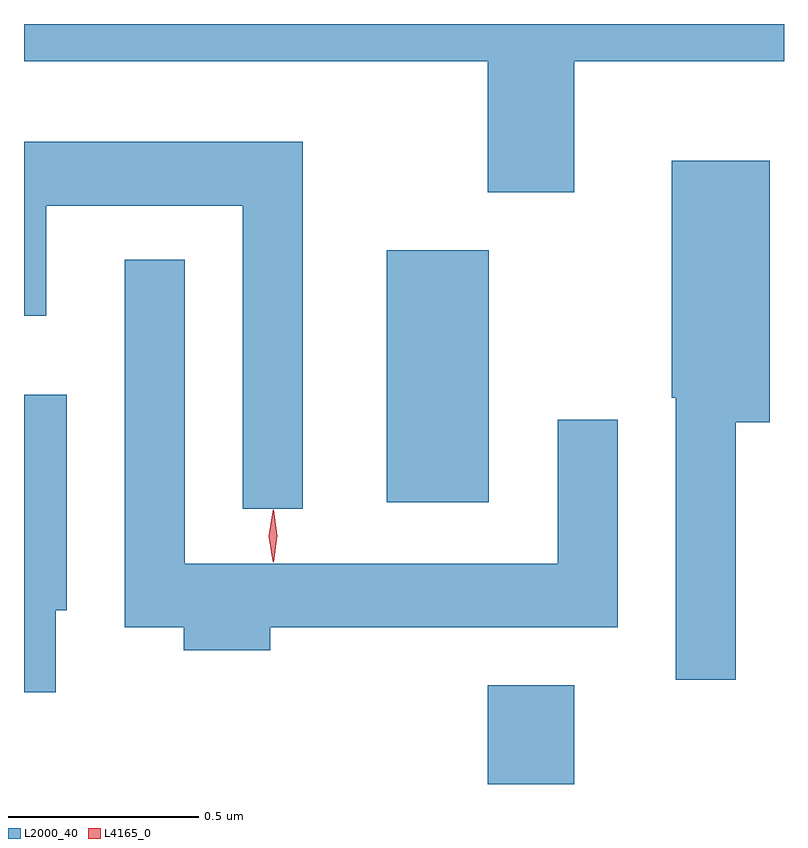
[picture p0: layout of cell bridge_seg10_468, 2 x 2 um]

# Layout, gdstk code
import gdstk
lib = gdstk.Library(unit=1e-6, precision=1e-09)
def R(c, l, rs):  # rectangles x0, y0, x1, y1
    for r in rs: c.add(gdstk.rectangle(r[:2], r[2:], *l))
def P(c, l, *ps):  # polygons
    for p in ps: c.add(gdstk.Polygon(p, *l))
L2000_40 = (2000, 40)
L4165_0 = (4165, 0)

bridge_seg10_468 = lib.new_cell('bridge_seg10_468')
R(bridge_seg10_468, L2000_40, [(1423.571,2143.094,1423.799,2143.354), (1423.306,2143.836,1423.574,2144.499)])
P(bridge_seg10_468, L2000_40, [(1423.799,2144.996),(1424.351,2144.996),(1424.351,2145.094),(1422.351,2145.094),(1422.351,2144.996),(1423.571,2144.996),(1423.571,2144.651),(1423.799,2144.651)],
  [(1423.084,2144.784),(1422.351,2144.784),(1422.351,2144.326),(1422.409,2144.326),(1422.409,2144.616),(1422.926,2144.616),(1422.926,2143.818),(1423.084,2143.818)],
  [(1424.224,2144.046),(1424.314,2144.046),(1424.314,2144.734),(1424.056,2144.734),(1424.056,2144.11),(1424.066,2144.11),(1424.066,2143.368),(1424.224,2143.368)],
  [(1422.999,2143.506),(1423.914,2143.506),(1423.914,2144.053),(1423.756,2144.053),(1423.756,2143.674),(1422.774,2143.674),(1422.774,2144.473),(1422.616,2144.473),(1422.616,2143.506),(1422.771,2143.506),(1422.771,2143.446),(1422.999,2143.446)],
  [(1422.434,2143.551),(1422.464,2143.551),(1422.464,2144.119),(1422.351,2144.119),(1422.351,2143.336),(1422.434,2143.336)])
P(bridge_seg10_468, L4165_0, [(1423.005,2143.68),(1423.005,2143.68),(1422.995,2143.746),(1423.005,2143.812),(1423.005,2143.813),(1423.006,2143.812),(1423.015,2143.746),(1423.006,2143.68)],
  [(1423.008,2143.677),(1423.007,2143.678),(1422.998,2143.747),(1423.007,2143.816),(1423.008,2143.816),(1423.008,2143.816),(1423.018,2143.747),(1423.008,2143.678)])

lib.write_gds('bridge_seg10_468.gds')
